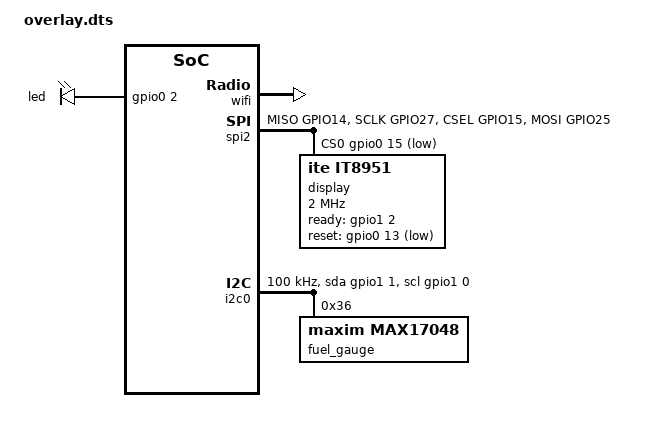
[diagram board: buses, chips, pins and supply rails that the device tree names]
#include <freq.h>

/ {
	led {
		compatible = "gpio-leds";

		led: led {
			gpios = <&gpio0 2 GPIO_ACTIVE_HIGH>;
			label = "led";
		};
	};
};

&wifi {
	status = "okay";
};

&pinctrl {

	spim2_custom: spim2_custom {
		group1 {
			pinmux = <SPIM2_MISO_GPIO14>,
					 <SPIM2_SCLK_GPIO27>,
					 <SPIM2_CSEL_GPIO15>; // Just a dummy CS pin
		};

		group2 {
			pinmux = <SPIM2_MOSI_GPIO25>;
			output-low;
		};
	};

	i2c0_custom: i2c0_custom {
		group1 {
			pinmux = <I2C0_SDA_GPIO33>,
					 <I2C0_SCL_GPIO32>;
			bias-pull-up;
			drive-open-drain;
			output-high;
		};
	};

};

&spi2 {
	status = "okay";

	pinctrl-0 = <&spim2_custom>;
	pinctrl-names = "default";

	/* Just a dummy CS pin
	 * The ESP32 SPI driver pulls the CS pin down only for the duration of a single transfer operation. But the IT8951
	 * SPI protocol requires the CS line to be held down for the whole transaction. E.g.:
	 * If you want to read some data from the IT8951 chip, you have to send the read preamble (0x1000) and then read
	 * the response one word at a time while both waiting for the ready pin to get HIGH and signal that IT8951 is ready,
	 * and holding the CS line down the whole time.
	 * This won't work with ESP32 SPI, so we have to assign CS to a dummy pin and control the CS line manually.
	 */
	cs-gpios = <&gpio0 15 GPIO_ACTIVE_LOW>;

	display: display@0 {
		compatible = "ite,it8951";
		status = "okay";
		reg = <0>;

		// At 8MHz the SPI clock became unstable, and the data could not be delivered reliably
		spi-max-frequency = <DT_FREQ_M(2)>;

		ready-gpios = <&gpio1 2 0>;
		reset-gpios = <&gpio0 13 GPIO_ACTIVE_LOW>;
		cs-gpios = <&gpio0 26 GPIO_ACTIVE_LOW>;
		vcom = <1710>; // As printed on the connector (-1.71V -> 1710mV)
	};
};

&i2c0 {
	status = "okay";
	clock-frequency = <I2C_BITRATE_STANDARD>;

	sda-gpios = <&gpio1 1 GPIO_OPEN_DRAIN>;
	scl-gpios = <&gpio1 0 GPIO_OPEN_DRAIN>;

	pinctrl-0 = <&i2c0_custom>;
	pinctrl-names = "default";

	fuel_gauge: fuel_gauge@36 {
		compatible = "maxim,max17048";
		status = "okay";
		reg = <0x36>;
	};
};

&spi3 {
	status = "disabled";
};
